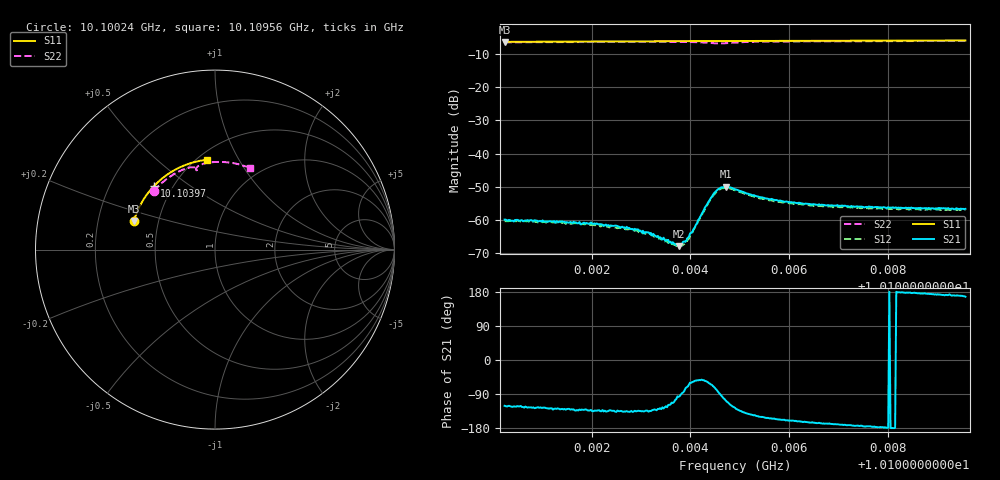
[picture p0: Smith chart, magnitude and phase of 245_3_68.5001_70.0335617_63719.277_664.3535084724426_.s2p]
#  HZ  S  RI  R  50.00
! Rohde & Schwarz Vector Network Analyzer
! Rohde-Schwarz,ZNB20-2Port,1311601062101988,3.16
! Created: UTC 3/20/2024, 4:59:37 PM
! freq[Hz]  re:S11  im:S11  re:S21  im:S21  re:S12  im:S12  re:S22  im:S22
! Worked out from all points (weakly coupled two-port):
!   401 points, 10.10024 GHz to 10.10956 GHz, reference 50 ohm
!   highest |S21| = -49.99 dB at 10.10472 GHz (marker M1); lowest = -67.8 dB at 10.10376 GHz (marker M2)
!   lowest |S11| = -6.4 dB at 10.10024 GHz (marker M3), VSWR 2.84, Z = 18.1 + j7.5 ohm
!   |S11| at or under -10 dB: nowhere
!   |S22| runs from -6.9 to -6.1 dB; largest |S21 - S12| = 0.00032
!   S11 on the Smith chart (normalised r, x): 10.10024 GHz: 0.36, +0.15; 10.10397 GHz: 0.40, +0.37; 10.10956 GHz: 0.56, +0.75
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1.0100242e10  -0.4518 0.1599  -0.00052 -0.000868  -0.000419 -0.00085  -0.3397 0.3276
1.0100661e10  -0.444 0.1842  -0.000529 -0.000822  -0.00047 -0.000844  -0.3212 0.3475
1.0101803e10  -0.4162 0.2479  -0.000574 -0.000664  -0.000523 -0.000685  -0.2655 0.396
1.0102013e10  -0.4102 0.2591  -0.000626 -0.000621  -0.000527 -0.000664  -0.2542 0.4039
1.0102712e10  -0.3876 0.2952  -0.000559 -0.000558  -0.000493 -0.00053  -0.2151 0.428
1.0103155e10  -0.3718 0.317  -0.000471 -0.000449  -0.000376 -0.000491  -0.1885 0.4413
1.0103365e10  -0.3639 0.3269  -0.000346 -0.000424  -0.000301 -0.000426  -0.1754 0.4469
1.0103668e10  -0.352 0.341  -0.000161 -0.000412  -0.000112 -0.000407  -0.1551 0.4539
1.0103761e10  -0.3481 0.3452  -5.05e-05 -0.000403  -2.36e-05 -0.000407  -0.1486 0.4558
1.0103877e10  -0.3435 0.3505  6.78e-05 -0.000471  0.000112 -0.000423  -0.1399 0.4575
1.0103971e10  -0.3396 0.3546  0.000238 -0.000508  0.000235 -0.000463  -0.1329 0.4585
1.0104087e10  -0.3345 0.3596  0.00044 -0.000628  0.000495 -0.000576  -0.1238 0.4589
1.0104274e10  -0.3265 0.3676  0.000846 -0.00114  0.0009 -0.001  -0.1091 0.4558
1.0104437e10  -0.3193 0.3744  0.000916 -0.00205  0.00103 -0.00194  -0.1003 0.4479
1.0104576e10  -0.3133 0.3801  0.000185 -0.00295  0.000416 -0.0028  -0.1016 0.4419
1.0104716e10  -0.3069 0.3856  -0.000935 -0.00303  -0.000615 -0.00299  -0.1056 0.4455
1.0104903e10  -0.2984 0.3929  -0.00171 -0.00235  -0.00148 -0.00238  -0.1019 0.4576
1.0105299e10  -0.2797 0.4078  -0.00193 -0.00132  -0.00173 -0.00138  -0.0767 0.4743
1.0105555e10  -0.2671 0.4168  -0.00187 -0.000961  -0.00167 -0.00108  -0.0591 0.4798
1.0106464e10  -0.2202 0.446  -0.00165 -0.000468  -0.00156 -0.000585  0.00191 0.4882
1.0108025e10  -0.1332 0.4824  -0.00153 1.7e-06  -0.00145 -0.000164  0.1025 0.4816
1.0109564e10  -0.0422 0.5013  -0.00143 0.000331  -0.00141 0.000131  0.1968 0.4545
